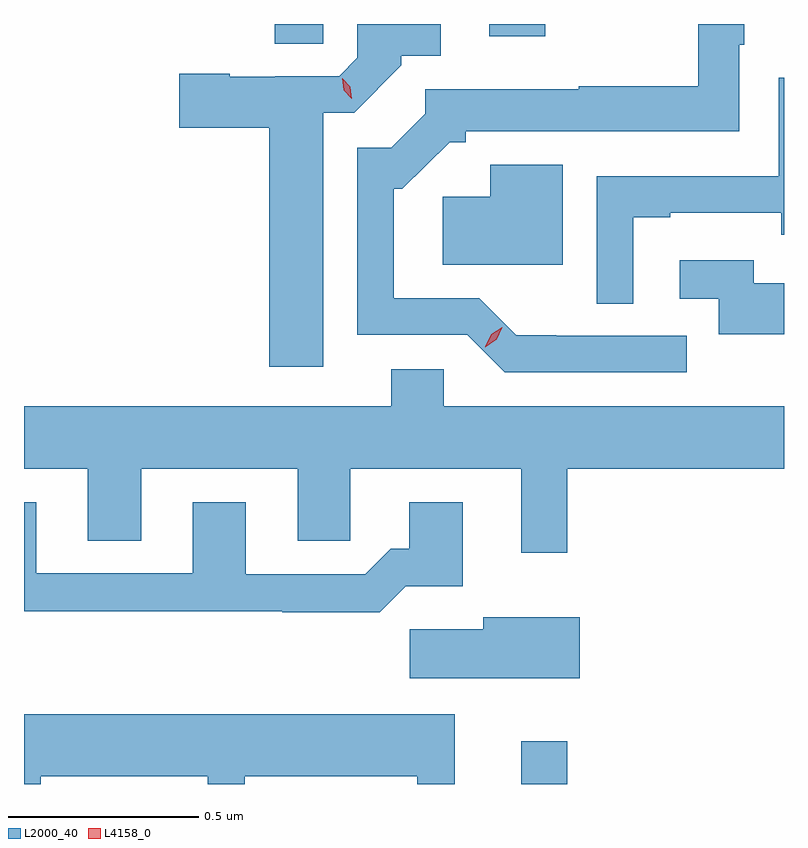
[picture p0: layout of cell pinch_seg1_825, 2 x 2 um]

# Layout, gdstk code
import gdstk
lib = gdstk.Library(unit=1e-6, precision=1e-09)
def R(c, l, rs):  # rectangles x0, y0, x1, y1
    for r in rs: c.add(gdstk.rectangle(r[:2], r[2:], *l))
def P(c, l, *ps):  # polygons
    for p in ps: c.add(gdstk.Polygon(p, *l))
L2000_40 = (2000, 40)
L4158_0 = (4158, 0)

pinch_seg1_825 = lib.new_cell('pinch_seg1_825')
R(pinch_seg1_825, L2000_40, [(402.221,570.882,402.343,570.994), (401.573,572.83,401.7,572.882), (402.137,572.85,402.285,572.882)])
P(pinch_seg1_825, L2000_40, [(401.701,572.649),(401.782,572.649),(401.906,572.773),(401.906,572.799),(402.01,572.799),(402.01,572.882),(401.79,572.882),(401.79,572.793),(401.742,572.745),(401.574,572.745),(401.574,572.743),(401.454,572.743),(401.454,572.751),(401.322,572.751),(401.322,572.609),(401.558,572.609),(401.558,571.98),(401.701,571.98)],
  [(402.657,572.061),(402.313,572.061),(402.313,572.063),(402.209,572.063),(402.111,572.16),(401.886,572.16),(401.886,572.448),(401.909,572.448),(402.033,572.571),(402.076,572.571),(402.076,572.6),(402.795,572.6),(402.795,572.828),(402.808,572.828),(402.808,572.882),(402.687,572.882),(402.687,572.718),(402.373,572.718),(402.373,572.71),(401.969,572.71),(401.969,572.646),(401.879,572.556),(401.79,572.556),(401.79,572.064),(402.079,572.064),(402.178,571.965),(402.657,571.965)],
  [(402.516,572.373),(402.613,572.373),(402.613,572.385),(402.906,572.385),(402.906,572.328),(402.913,572.328),(402.913,572.74),(402.899,572.74),(402.899,572.481),(402.42,572.481),(402.42,572.146),(402.516,572.146)],
  [(402.331,572.512),(402.14,572.512),(402.14,572.427),(402.015,572.427),(402.015,572.249),(402.331,572.249)],
  [(402.913,572.2),(402.834,572.2),(402.834,572.26),(402.639,572.26),(402.639,572.159),(402.741,572.159),(402.741,572.066),(402.913,572.066)],
  [(402.221,571.491),(402.343,571.491),(402.343,571.712),(402.913,571.712),(402.913,571.876),(402.018,571.876),(402.018,571.974),(401.879,571.974),(401.879,571.876),(400.913,571.876),(400.913,571.712),(401.081,571.712),(401.081,571.522),(401.221,571.522),(401.221,571.712),(401.633,571.712),(401.633,571.522),(401.772,571.522),(401.772,571.712),(402.221,571.712)],
  [(401.918,571.403),(402.067,571.403),(402.067,571.624),(401.927,571.624),(401.927,571.501),(401.878,571.501),(401.811,571.434),(401.497,571.434),(401.497,571.624),(401.357,571.624),(401.357,571.437),(400.945,571.437),(400.945,571.624),(400.913,571.624),(400.913,571.336),(401.593,571.336),(401.593,571.334),(401.849,571.334)],
  [(402.376,571.321),(402.122,571.321),(402.122,571.289),(401.928,571.289),(401.928,571.16),(402.376,571.16)],
  [(400.957,570.902),(401.396,570.902),(401.396,570.882),(401.494,570.882),(401.494,570.902),(401.948,570.902),(401.948,570.882),(402.046,570.882),(402.046,571.066),(400.913,571.066),(400.913,570.882),(400.957,570.882)])
P(pinch_seg1_825, L4158_0, [(401.776,572.685),(401.776,572.685),(401.754,572.708),(401.75,572.739),(401.75,572.739),(401.75,572.739),(401.772,572.717),(401.776,572.685)],
  [(402.127,572.032),(402.127,572.033),(402.142,572.065),(402.171,572.084),(402.171,572.084),(402.171,572.084),(402.157,572.052),(402.127,572.032)])

lib.write_gds('pinch_seg1_825.gds')
